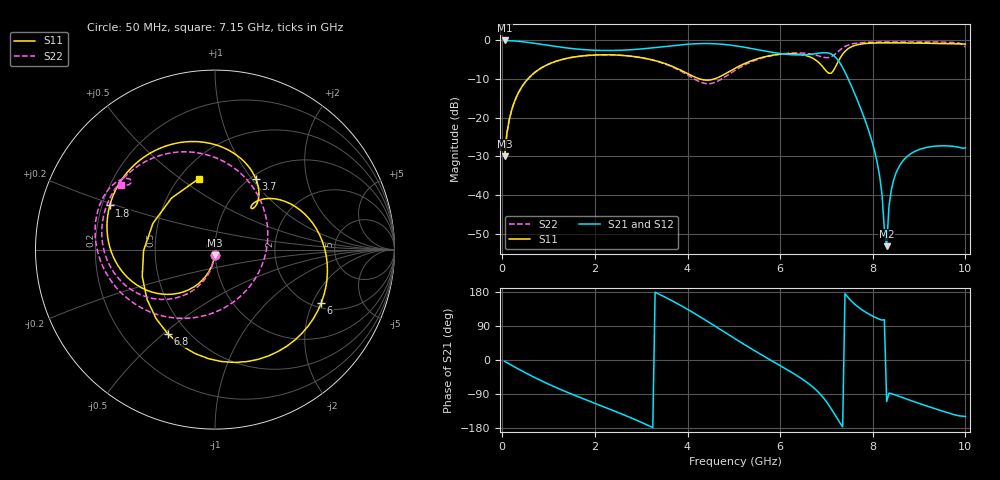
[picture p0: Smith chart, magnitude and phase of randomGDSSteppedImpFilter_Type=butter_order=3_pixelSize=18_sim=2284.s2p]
! freq	dB(S11)	phase(S11)	dB(S12)	phase(S12)
!  dB(S21)	phase(S21)	dB(S22)	phase(S22)
!S-par simulation data
#  GHz  S  DB  R 50
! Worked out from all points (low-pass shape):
!   200 points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, 50 MHz to 10 GHz, reference 50 ohm
!   highest |S21| = -0.01 dB at 50 MHz (marker M1); lowest = -53.3 dB at 8.3 GHz (marker M2)
!   |S21| within 3 dB of the highest: start of sweep to 5.796 GHz
!   lowest |S11| = -30.0 dB at 50 MHz (marker M3), VSWR 1.07, Z = 49.7 - j3.15 ohm
!   |S11| at or under -10 dB: start of sweep to 550.9 MHz; 4.273 GHz to 4.571 GHz (297.7 MHz wide, 6.73 % of centre)
!   |S22| runs from -30.0 to -0.4 dB; largest |S21 - S12| = 0
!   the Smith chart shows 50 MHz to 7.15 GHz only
!   S11 on the Smith chart (normalised r, x): 50 MHz: 0.99, -0.06; 1.8 GHz: 0.23, +0.19; 3.7 GHz: 1.06, +1.05; 6 GHz: 2.19, -2.33; 6.8 GHz: 0.39, -0.52; 7.15 GHz: 0.62, +0.59
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0.05  -29.97 -93.9  -0.01 -3.5  -0.01 -3.5  -29.97 -93.4
0.2  -18.13 -105.1  -0.09 -13.8  -0.09 -13.8  -18.13 -103.4
0.5  -10.72 -126.4  -0.43 -33.8  -0.43 -33.8  -10.71 -122.2
1.75  -3.99 159.9  -2.38 -102.4  -2.38 -102.4  -3.98 174.5
1.8  -3.93 157.2  -2.42 -104.8  -2.42 -104.8  -3.92 172.3
3.4  -5.56 74.0  -1.72 172.9  -1.72 172.9  -5.63 92.8
3.7  -6.87 59.7  -1.33 154.2  -1.33 154.2  -7.03 70.5
4.45  -10.28 49.0  -0.81 100.5  -0.81 100.5  -11.22 -27.1
5.05  -7.07 39.5  -1.42 54.2  -1.42 54.2  -7.57 -113.6
6  -3.58 -26.7  -3.39 -14.8  -3.39 -14.8  -3.55 177.0
6.7  -4.59 -101.0  -3.54 -70.7  -3.54 -70.7  -3.61 144.4
6.8  -5.39 -119.2  -3.37 -81.8  -3.37 -81.8  -3.90 141.6
7  -8.00 -179.3  -3.20 -110.1  -3.20 -110.1  -4.47 141.4
7.15  -7.85 103.0  -3.87 -137.9  -3.87 -137.9  -3.90 145.5
7.3  -4.45 38.7  -6.01 -167.5  -6.01 -167.5  -2.40 143.5
7.5  -1.89 -11.7  -10.76 160.4  -10.76 160.4  -1.09 132.4
8.05  -0.67 -75.9  -29.17 112.7  -29.17 112.7  -0.44 104.6
8.3  -0.63 -93.6  -53.28 -109.6  -53.28 -109.6  -0.41 94.4
8.35  -0.62 -96.8  -43.01 -87.4  -43.01 -87.4  -0.40 92.5
8.5  -0.63 -105.8  -34.39 -92.9  -34.39 -92.9  -0.40 86.8
8.8  -0.67 -122.4  -29.51 -106.1  -29.51 -106.1  -0.40 75.7
10  -0.95 177.4  -27.81 -149.3  -27.81 -149.3  -1.70 24.9
